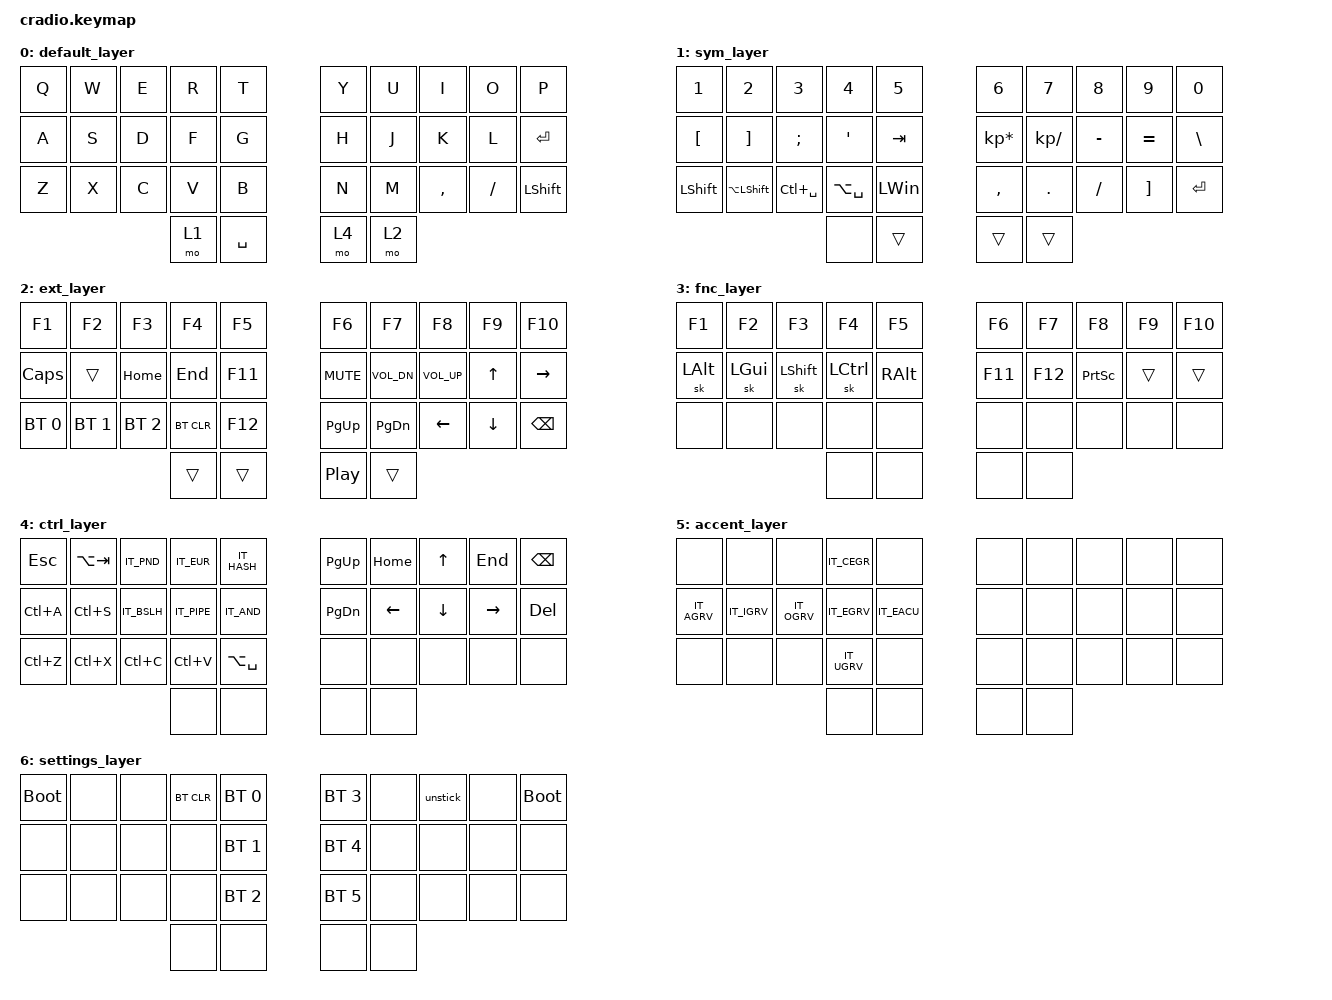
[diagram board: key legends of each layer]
/*
 * Copyright (c) 2020 The ZMK Contributors
 *
 * SPDX-License-Identifier: MIT
 */

#include <behaviors.dtsi>
#include "keymap_italian.h"
#include <dt-bindings/zmk/bt.h>
#include <dt-bindings/zmk/keys.h>

// Layer definitions

#define BASE 0
#define SYM 1
#define EXT 2
#define FNC 3
#define SYM2 4
#define ACCENT 5
#define SETTINGS 6

// -----------------

&mt {
    //  flavor = "tap-preferred";
    // tapping_term_ms = <200>;
};

&sk {
    ignore-modifiers;
};

/ {
    macros {
        // sometimes my device thinks a modifier is being held down
        // pressing all modifiers fixes it.

        unstick: unstick {
            label = "ZM_unstick";
            compatible = "zmk,behavior-macro";
            #binding-cells = <0>;
            bindings = <&kp LSHIFT &kp RSHIFT &kp LCTRL &kp RCTRL &kp LALT &kp RALT &kp LGUI &kp RGUI>;
        };
    };

    combos {
        compatible = "zmk,combos";

        // both right thumb keys
        // internal-left & external-right thumb keys
        // both left thumb keys

        left_1 {
            bindings = <&kp LEFT_BRACKET>;
            key-positions = <2 3>;
            timeout-ms = <30>;
        };

        right_1 {
            bindings = <&kp RBKT>;
            key-positions = <6 7>;
            timeout-ms = <30>;
        };

        left_2 {
            bindings = <&kp LEFT_PARENTHESIS>;
            key-positions = <12 13>;
            timeout-ms = <30>;
        };

        right_2 {
            bindings = <&kp RIGHT_PARENTHESIS>;
            key-positions = <16 17>;
            timeout-ms = <30>;
        };

        left_3 {
            bindings = <&kp LEFT_BRACE>;
            key-positions = <22 23>;
            timeout-ms = <30>;
        };

        right_3 {
            bindings = <&kp RIGHT_BRACE>;
            key-positions = <26 27>;
            timeout-ms = <30>;
        };

        minus {
            bindings = <&kp UNDER>;
            key-positions = <15 17>;
            timeout-ms = <30>;
        };

        lessthan {
            bindings = <&kp LESS_THAN>;
            key-positions = <25 27>;
            timeout-ms = <30>;
        };

        greater {
            bindings = <&kp GREATER_THAN>;
            key-positions = <25 28>;
            timeout-ms = <30>;
        };

        pipe {
            bindings = <&kp PIPE>;
            key-positions = <14 15>;
            timeout-ms = <30>;
        };

        backsplash {
            bindings = <&kp BACKSLASH>;
            key-positions = <4 5>;
            timeout-ms = <30>;
        };

        plus {
            bindings = <&kp PLUS>;
            key-positions = <15 18>;
            timeout-ms = <30>;
        };

        tab {
            bindings = <&kp TAB>;
            key-positions = <10 12 11>;
            timeout-ms = <30>;
        };

        tilde {
            bindings = <&kp TILDE>;
            key-positions = <5 6>;
        };

        grave {
            bindings = <&kp GRAVE>;
            key-positions = <3 4>;
        };

        semi {
            bindings = <&kp SEMI>;
            key-positions = <16 17 18>;
        };

        colon {
            bindings = <&kp COLON>;
            key-positions = <7 8 6>;
        };

        sqt {
            bindings = <&kp SQT>;
            key-positions = <17 18>;
        };

        dqt {
            bindings = <&kp DQT>;
            key-positions = <17 18 26>;
        };

        backspace {
            bindings = <&kp BACKSPACE>;
            key-positions = <8 9>;
        };

        delete {
            bindings = <&kp DEL>;
            key-positions = <18 19>;
        };

        dot {
            bindings = <&kp DOT>;
            key-positions = <28 29>;
        };
    };

    behaviors {
        ht: ht {
            compatible = "zmk,behavior-hold-tap";
            label = "HT";
            bindings =
                <&kp>,
                <&kp>;

            #binding-cells = <2>;
            tapping-term-ms = <200>;
            quick-tap-ms = <100>;
            global-quick-tap;
            flavor = "tap-preferred";
        };
    };

    keymap {
        compatible = "zmk,keymap";

        // Base alpha layer

        default_layer {
            bindings = <
&kp Q  &kp W  &kp E  &kp R  &kp T        &kp Y  &kp U  &kp I      &kp O     &kp P
&kp A  &kp S  &kp D  &kp F  &kp G        &kp H  &kp J  &kp K      &kp L     &kp ENTER
&kp Z  &kp X  &kp C  &kp V  &kp B        &kp N  &kp M  &kp COMMA  &kp FSLH  &kp LEFT_SHIFT
                     &mo 1  &kp SPACE    &mo 4  &mo 2
            >;
        };

        // Numbers and high frequency symbols

        sym_layer {
            bindings = <
&kp N1            &kp N2              &kp N3         &kp N4            &kp N5      &kp N6           &kp N7         &kp N8     &kp N9     &kp N0
&kp LEFT_BRACKET  &kp RIGHT_BRACKET   &kp SEMICOLON  &kp SINGLE_QUOTE  &kp TAB     &kp KP_MULTIPLY  &kp KP_DIVIDE  &kp MINUS  &kp EQUAL  &kp BACKSLASH
&kp LSHFT         &kp LA(LEFT_SHIFT)  &kp LC(SPACE)  &kp LA(SPACE)     &kp LWIN    &kp COMMA        &kp DOT        &kp SLASH  &kp RBKT   &kp RET
                                                     &none             &trans      &trans           &trans
            >;
        };

        // Main modifiers and arrow keys

        ext_layer {
            bindings = <
&kp F1        &kp F2        &kp F3        &kp F4      &kp F5     &kp F6      &kp F7         &kp F8        &kp F9        &kp F10
&kp CAPSLOCK  &trans        &kp HOME      &kp END     &kp F11    &kp C_MUTE  &kp C_VOL_DN   &kp C_VOL_UP  &kp UP_ARROW  &kp RIGHT
&bt BT_SEL 0  &bt BT_SEL 1  &bt BT_SEL 2  &bt BT_CLR  &kp F12    &kp PG_UP   &kp PAGE_DOWN  &kp LEFT      &kp DOWN      &kp BSPC
                                          &trans      &trans     &kp C_PP    &trans
            >;
        };

        // Function keys with modifiers

        fnc_layer {
            bindings = <
&kp F1    &kp F2    &kp F3      &kp F4     &kp F5      &kp F6   &kp F7   &kp F8           &kp F9  &kp F10
&sk LALT  &sk LGUI  &sk LSHIFT  &sk LCTRL  &kp RALT    &kp F11  &kp F12  &kp PRINTSCREEN  &trans  &trans
&none     &none     &none       &none      &none       &none    &none    &none            &none   &none
                                &none      &none       &none    &none
            >;
        };

        // Low frequency symbols.

        ctrl_layer {
            bindings = <
&kp ESC    &kp LA(TAB)  &kp IT_PND   &kp IT_EUR   &kp IT_HASH      &kp PAGE_UP    &kp HOME  &kp UP    &kp END    &kp BACKSPACE
&kp LC(A)  &kp LC(S)    &kp IT_BSLH  &kp IT_PIPE  &kp IT_AND       &kp PAGE_DOWN  &kp LEFT  &kp DOWN  &kp RIGHT  &kp DEL
&kp LC(Z)  &kp LC(X)    &kp LC(C)    &kp LC(V)    &kp LA(SPACE)    &none          &none     &none     &none      &none
                                     &none        &none            &none          &none
            >;
        };

        // Used to type regional accents.

        accent_layer {
            bindings = <
&none        &none        &none        &kp IT_CEGR  &none          &none  &none  &none  &none  &none
&kp IT_AGRV  &kp IT_IGRV  &kp IT_OGRV  &kp IT_EGRV  &kp IT_EACU    &none  &none  &none  &none  &none
&none        &none        &none        &kp IT_UGRV  &none          &none  &none  &none  &none  &none
                                       &none        &none          &none  &none
            >;
        };

        // Used to change the keyboard's settings.

        settings_layer {
            bindings = <
&bootloader  &none  &none  &bt BT_CLR  &bt BT_SEL 0    &bt BT_SEL 3  &none  &unstick  &none  &bootloader
&none        &none  &none  &none       &bt BT_SEL 1    &bt BT_SEL 4  &none  &none     &none  &none
&none        &none  &none  &none       &bt BT_SEL 2    &bt BT_SEL 5  &none  &none     &none  &none
                           &none       &none           &none         &none
            >;
        };
    };
};
